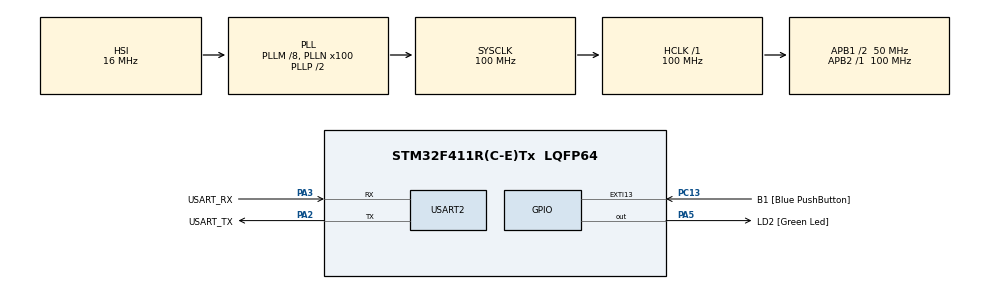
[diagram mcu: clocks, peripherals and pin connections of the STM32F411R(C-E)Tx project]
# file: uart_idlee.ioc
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Dma.Request0=USART2_RX
Dma.USART2_RX.0.Direction=DMA_PERIPH_TO_MEMORY
Dma.USART2_RX.0.FIFOMode=DMA_FIFOMODE_DISABLE
Dma.USART2_RX.0.Instance=DMA1_Stream5
Dma.USART2_RX.0.MemDataAlignment=DMA_MDATAALIGN_BYTE
Dma.USART2_RX.0.MemInc=DMA_MINC_ENABLE
Dma.USART2_RX.0.Mode=DMA_NORMAL
Dma.USART2_RX.0.PeriphDataAlignment=DMA_PDATAALIGN_BYTE
Dma.USART2_RX.0.PeriphInc=DMA_PINC_DISABLE
Dma.USART2_RX.0.Priority=DMA_PRIORITY_MEDIUM
Mcu.Family=STM32F4
Mcu.Name=STM32F411R(C-E)Tx
Mcu.Package=LQFP64
NVIC.DMA1_Stream5_IRQn=true\:0\:0\:false\:false\:true\:false\:true\:true
NVIC.PriorityGroup=NVIC_PRIORITYGROUP_0
NVIC.USART2_IRQn=true\:0\:0\:false\:false\:true\:true\:true\:true
PA13.GPIO_Label=TMS
PA13.Mode=Serial_Wire
PA13.Signal=SYS_JTMS-SWDIO
PA14.GPIO_Label=TCK
PA14.Mode=Serial_Wire
PA14.Signal=SYS_JTCK-SWCLK
PA2.GPIO_Label=USART_TX
PA2.Mode=Asynchronous
PA2.Signal=USART2_TX
PA3.GPIO_Label=USART_RX
PA3.Mode=Asynchronous
PA3.Signal=USART2_RX
PA5.GPIO_Label=LD2 [Green Led]
PA5.Signal=GPIO_Output
PB3.GPIO_Label=SWO
PB3.Signal=SYS_JTDO-SWO
PC13-ANTI_TAMP.GPIO_Label=B1 [Blue PushButton]
PC13-ANTI_TAMP.GPIO_ModeDefaultEXTI=GPIO_MODE_IT_FALLING
PC13-ANTI_TAMP.Signal=GPXTI13
PC14-OSC32_IN.Mode=LSE-External-Oscillator
PC14-OSC32_IN.Signal=RCC_OSC32_IN
PC15-OSC32_OUT.Mode=LSE-External-Oscillator
PC15-OSC32_OUT.Signal=RCC_OSC32_OUT
PH0\ -\ OSC_IN.Mode=HSE-External-Clock-Source
PH0\ -\ OSC_IN.Signal=RCC_OSC_IN
PH1\ -\ OSC_OUT.Mode=HSE-External-Clock-Source
PH1\ -\ OSC_OUT.Signal=RCC_OSC_OUT
ProjectManager.HeapSize=0x200
ProjectManager.StackSize=0x400
ProjectManager.TargetToolchain=STM32CubeIDE
RCC.48MHZClocksFreq_Value=50000000
RCC.AHBFreq_Value=100000000
RCC.APB1CLKDivider=RCC_HCLK_DIV2
RCC.APB1Freq_Value=50000000
RCC.APB1TimFreq_Value=100000000
RCC.APB2Freq_Value=100000000
RCC.APB2TimFreq_Value=100000000
RCC.CortexFreq_Value=100000000
RCC.FLatency-AdvancedSettings=FLASH_LATENCY_3
RCC.HCLKFreq_Value=100000000
RCC.HSE_VALUE=8000000
RCC.HSI_VALUE=16000000
RCC.PLLM=8
RCC.PLLN=100
RCC.SYSCLKFreq_VALUE=100000000
RCC.SYSCLKSource=RCC_SYSCLKSOURCE_PLLCLK
RCC.VCOOutputFreq_Value=200000000
USART2.VirtualMode=VM_ASYNC
board=NUCLEO-F411RE

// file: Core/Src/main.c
/* USER CODE BEGIN Header */
/**
  ******************************************************************************
  * @file           : main.c
  * @brief          : Main program body
  ******************************************************************************
  * @attention
  *
  * Copyright (c) 2026 STMicroelectronics.
  * All rights reserved.
  *
  * This software is licensed under terms that can be found in the LICENSE file
  * in the root directory of this software component.
  * If no LICENSE file comes with this software, it is provided AS-IS.
  *
  ******************************************************************************
  */
/* USER CODE END Header */
#include "main.h"
#include "dma.h"
#include "usart.h"
#include "gpio.h"

/* USER CODE BEGIN Includes */
#include "string.h"
/* USER CODE END Includes */

/* USER CODE BEGIN PV */
uint8_t rx_buf[64];
uint8_t cmd_buf[64];
volatile uint16_t rx_size=0;
volatile uint8_t cmd_flag=0;
/* USER CODE END PV */

void SystemClock_Config(void);

/* USER CODE BEGIN 0 */
void process_command();
/* USER CODE END 0 */

int main(void)
{

  /* MCU Configuration--------------------------------------------------------*/

  /* Reset of all peripherals, Initializes the Flash interface and the Systick. */
  HAL_Init();

  /* Configure the system clock */
  SystemClock_Config();

  /* Initialize all configured peripherals */
  MX_GPIO_Init();
  MX_DMA_Init();
  MX_USART2_UART_Init();
  /* USER CODE BEGIN 2 */
HAL_UARTEx_ReceiveToIdle_DMA(&huart2, rx_buf, sizeof(rx_buf));
__HAL_DMA_DISABLE_IT(huart2.hdmarx, DMA_IT_HT);
  /* USER CODE END 2 */

  /* Infinite loop */
  while (1)
  {

    /* USER CODE BEGIN 3 */
	  process_command();
  }
  /* USER CODE END 3 */
}

void SystemClock_Config(void)
{
  RCC_OscInitTypeDef RCC_OscInitStruct = {0};
  RCC_ClkInitTypeDef RCC_ClkInitStruct = {0};

  /** Configure the main internal regulator output voltage
  */
  __HAL_RCC_PWR_CLK_ENABLE();
  __HAL_PWR_VOLTAGESCALING_CONFIG(PWR_REGULATOR_VOLTAGE_SCALE1);

  /** Initializes the RCC Oscillators according to the specified parameters
  * in the RCC_OscInitTypeDef structure.
  */
  RCC_OscInitStruct.OscillatorType = RCC_OSCILLATORTYPE_HSI;
  RCC_OscInitStruct.HSIState = RCC_HSI_ON;
  RCC_OscInitStruct.HSICalibrationValue = RCC_HSICALIBRATION_DEFAULT;
  RCC_OscInitStruct.PLL.PLLState = RCC_PLL_ON;
  RCC_OscInitStruct.PLL.PLLSource = RCC_PLLSOURCE_HSI;
  RCC_OscInitStruct.PLL.PLLM = 8;
  RCC_OscInitStruct.PLL.PLLN = 100;
  RCC_OscInitStruct.PLL.PLLP = RCC_PLLP_DIV2;
  RCC_OscInitStruct.PLL.PLLQ = 4;
  if (HAL_RCC_OscConfig(&RCC_OscInitStruct) != HAL_OK)
  {
    Error_Handler();
  }

  /** Initializes the CPU, AHB and APB buses clocks
  */
  RCC_ClkInitStruct.ClockType = RCC_CLOCKTYPE_HCLK|RCC_CLOCKTYPE_SYSCLK
                              |RCC_CLOCKTYPE_PCLK1|RCC_CLOCKTYPE_PCLK2;
  RCC_ClkInitStruct.SYSCLKSource = RCC_SYSCLKSOURCE_PLLCLK;
  RCC_ClkInitStruct.AHBCLKDivider = RCC_SYSCLK_DIV1;
  RCC_ClkInitStruct.APB1CLKDivider = RCC_HCLK_DIV2;
  RCC_ClkInitStruct.APB2CLKDivider = RCC_HCLK_DIV1;

  if (HAL_RCC_ClockConfig(&RCC_ClkInitStruct, FLASH_LATENCY_3) != HAL_OK)
  {
    Error_Handler();
  }
}

/* USER CODE BEGIN 4 */
void HAL_UARTEx_RxEventCallback(UART_HandleTypeDef *huart, uint16_t size) // size = size nhan dc
{
	if(huart->Instance == USART2)
	{
		memset(cmd_buf, 0, sizeof(cmd_buf));
		memcpy(cmd_buf,rx_buf,size);
		rx_size = size;
		cmd_flag = 1;

	}
}

void process_command()
{
	if(cmd_flag == 1 && rx_size > 0)
	{
		cmd_buf[rx_size] = '\0';
		cmd_buf[strcspn((char*)cmd_buf, "\r\n")] = '\0';
		     if( strcmp((char*)cmd_buf, "bat" ) == 0)
		       {
			     HAL_GPIO_WritePin(GPIOA,GPIO_PIN_5,SET);
			   HAL_UART_Transmit_DMA(&huart2, (uint8_t*) "da bat\r\n", 8);
			    // HAL_UART_Transmit(&huart2,(uint8_t*) "da bat\r\n", 8, 100);
		       }
		     else if(strcmp((char*)cmd_buf, "tat") == 0)
		       {
		      	HAL_GPIO_WritePin(GPIOA,GPIO_PIN_5,RESET);
		     	//HAL_UART_Transmit_DMA(&huart2, (uint8_t*) "da tat\r\n", 8);
		       }

		cmd_flag =0;
		rx_size = 0;
		HAL_UARTEx_ReceiveToIdle_DMA(&huart2, rx_buf, sizeof(rx_buf));
		__HAL_DMA_DISABLE_IT(huart2.hdmarx, DMA_IT_HT);
     }
}

/* USER CODE END 4 */

void Error_Handler(void)
{
  __disable_irq();
  while (1)
  {
  }
}
